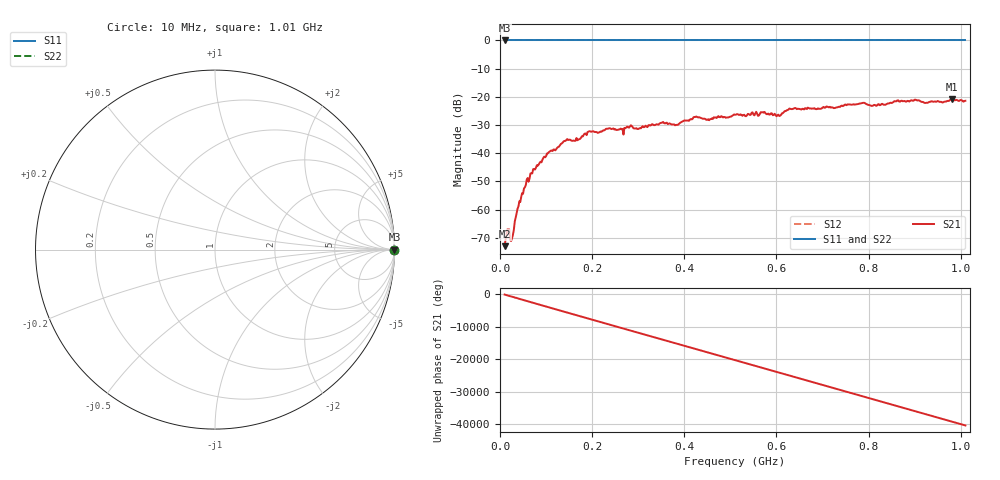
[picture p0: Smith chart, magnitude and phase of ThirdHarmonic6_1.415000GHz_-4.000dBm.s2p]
! 8/16/2025 4:14:20 PM
! C:\ANRITSUVNA\TEMP\TEMP.S2P
! CHANNEL.1
! TR.MEASUREMENT
! RAW.DATA
! RF.CORRECTION.OFF
! AVERAGING.OFF
! IF.BANDWIDTH: 5KHZ
! SWEEPTYPE:  FREQ.SWEEP(Linear)
! Reference Plane Port Info
! PORT:  PORT1  PORT2
! DISTANCE:  0  m  0  m
! TIME:  0  s  0  s
! PHASE.OFFSET:  0  deg.  0  deg.
! LOSS:  0  dB  0  dB
! REF.LOSS:  0  dB  0  dB
! REF.FREQ:  0  Hz  0  Hz
! Power Info
! POWER:  -20  dBm  -20  dBm
! EFF.POWER:  -20  dBm  -20  dBm
! SOURCE.ATTEN:  0  dB  0  dB
! TEST.ATTEN:  0  dB  0  dB
# GHZ S RI R 50.0
! FREQ.GHZ  S11RE  S11IM  S21RE  S21IM  S12RE  S12IM  S22RE  S22IM
!; PortSelection: Port_12
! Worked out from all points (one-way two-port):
!   501 points, 10 MHz to 1.01 GHz, reference 50 ohm
!   highest |S21| = -20.88 dB at 980 MHz (marker M1); lowest = -72.9 dB at 10 MHz (marker M2)
!   lowest |S11| = 0.0 dB at 10 MHz (marker M3)
!   |S11| at or under -10 dB: nowhere
!   |S22| runs from 0.0 to 0.0 dB; largest |S21 - S12| = 1.1
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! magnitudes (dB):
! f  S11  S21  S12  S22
! 10 MHz  0.0  -72.9  0.0  0.0
! 16 MHz  0.0  -67.0  0.0  0.0
! 26 MHz  0.0  -70.1  0.0  0.0
! 44 MHz  0.0  -57.3  0.0  0.0
! 56 MHz  0.0  -51.2  0.0  0.0
! 70 MHz  0.0  -47.1  0.0  0.0
! 106 MHz  0.0  -39.6  0.0  0.0
! 142 MHz  0.0  -35.6  0.0  0.0
! 178 MHz  0.0  -33.9  0.0  0.0
! 194 MHz  0.0  -32.2  0.0  0.0
! 344 MHz  0.0  -29.8  0.0  0.0
! 384 MHz  0.0  -29.9  0.0  0.0
! 424 MHz  0.0  -27.1  0.0  0.0
! 452 MHz  0.0  -27.9  0.0  0.0
! 510 MHz  0.0  -26.3  0.0  0.0
! 570 MHz  0.0  -25.4  0.0  0.0
! 604 MHz  0.0  -26.3  0.0  0.0
! 628 MHz  0.0  -24.1  0.0  0.0
! 678 MHz  0.0  -24.2  0.0  0.0
! 844 MHz  0.0  -22.4  0.0  0.0
! 980 MHz  0.0  -20.9  0.0  0.0
! 1.01 GHz  0.0  -21.4  0.0  0.0
